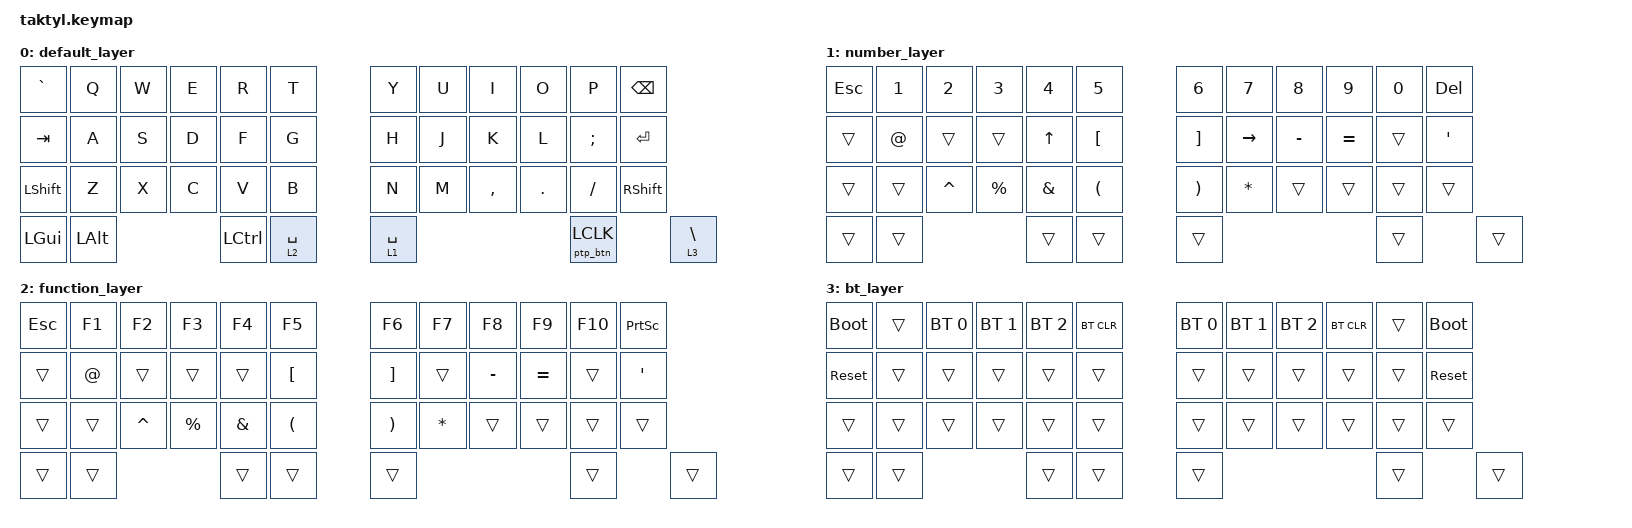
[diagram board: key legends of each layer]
#include <behaviors.dtsi>
#include <dt-bindings/zmk/keys.h>
#include <dt-bindings/zmk/bt.h>
#include <dt-bindings/zmk/mouse.h>

/ {
    behaviors {
        /* Clic dans le rapport Precision Touchpad (Windows ignore &mkp en mode PTP). */
        ptp_btn: ptp_button {
            compatible = "zmk,behavior-ptp-button";
            #binding-cells = <1>;
        };
    };
};

/ {
    keymap {
        compatible = "zmk,keymap";

        default_layer {
            bindings = <
            &kp GRAVE  &kp Q &kp W &kp E &kp R &kp T            &kp Y &kp U &kp I     &kp O   &kp P    &kp BSPC
            &kp TAB    &kp A &kp S &kp D &kp F &kp G            &kp H &kp J &kp K     &kp L   &kp SEMI &kp RET
            &kp LSHIFT &kp Z &kp X &kp C &kp V &kp B            &kp N &kp M &kp COMMA &kp DOT &kp FSLH &kp RSHFT
            &kp LGUI   &kp LALT          &kp LCTRL &lt 2 SPACE   &lt 1 SPACE                  &ptp_btn LCLK &lt 3 BSLH
            >;
        };

        number_layer {
            bindings = <
            &kp ESC     &kp N1  &kp N2  &kp N3  &kp N4  &kp N5          &kp N6  &kp N7  &kp N8  &kp N9  &kp N0  &kp DEL
            &trans      &kp AT  &trans  &trans  &kp UP  &kp LBKT        &kp RBKT  &kp RIGHT  &kp MINUS  &kp EQUAL  &trans  &kp SQT
            &trans      &trans  &kp CARET  &kp PRCNT  &kp AMPS  &kp LPAR        &kp RPAR  &kp STAR  &trans  &trans  &trans  &trans
            &trans      &trans                  &trans  &trans          &trans                          &trans  &trans
            >;
        };

        function_layer {
            bindings = <
            &kp ESC     &kp F1  &kp F2  &kp F3  &kp F4  &kp F5          &kp F6  &kp F7  &kp F8  &kp F9  &kp F10  &kp PSCRN
            &trans      &kp AT  &trans  &trans  &trans  &kp LBKT        &kp RBKT  &trans  &kp MINUS  &kp EQUAL  &trans  &kp SQT
            &trans      &trans  &kp CARET  &kp PRCNT  &kp AMPS  &kp LPAR        &kp RPAR  &kp STAR  &trans  &trans  &trans  &trans
            &trans      &trans                  &trans  &trans          &trans                          &trans  &trans
            >;
        };

        bt_layer {
            bindings = <
            &bootloader &trans  &bt BT_SEL 0  &bt BT_SEL 1 &bt BT_SEL 2 &bt BT_CLR   &bt BT_SEL 0  &bt BT_SEL 1 &bt BT_SEL 2 &bt BT_CLR  &trans  &bootloader
            &sys_reset  &trans  &trans        &trans       &trans       &trans       &trans        &trans       &trans       &trans      &trans  &sys_reset
            &trans      &trans  &trans        &trans       &trans       &trans       &trans        &trans       &trans       &trans      &trans  &trans
            &trans      &trans                             &trans       &trans       &trans                                              &trans  &trans
            >;
        };
    };
};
